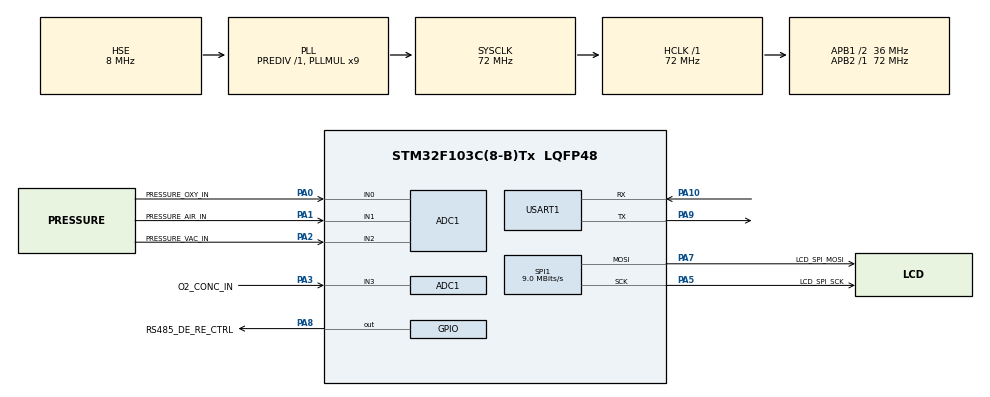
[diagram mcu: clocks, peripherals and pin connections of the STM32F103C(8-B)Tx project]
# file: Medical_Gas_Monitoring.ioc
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ADC1.Channel-0\#ChannelRegularConversion=ADC_CHANNEL_0
ADC1.Channel-1\#ChannelRegularConversion=ADC_CHANNEL_0
ADC1.Channel-2\#ChannelRegularConversion=ADC_CHANNEL_0
ADC1.Channel-3\#ChannelRegularConversion=ADC_CHANNEL_0
ADC1.ContinuousConvMode=ENABLE
ADC1.EnableAnalogWatchDog=false
ADC1.NbrOfConversion=4
ADC1.NbrOfConversionFlag=1
ADC1.Rank-0\#ChannelRegularConversion=1
ADC1.Rank-1\#ChannelRegularConversion=2
ADC1.Rank-2\#ChannelRegularConversion=3
ADC1.Rank-3\#ChannelRegularConversion=4
ADC1.SamplingTime-0\#ChannelRegularConversion=ADC_SAMPLETIME_1CYCLE_5
ADC1.SamplingTime-1\#ChannelRegularConversion=ADC_SAMPLETIME_1CYCLE_5
ADC1.SamplingTime-2\#ChannelRegularConversion=ADC_SAMPLETIME_1CYCLE_5
ADC1.SamplingTime-3\#ChannelRegularConversion=ADC_SAMPLETIME_1CYCLE_5
ADC1.master=1
Dma.ADC1.0.Direction=DMA_PERIPH_TO_MEMORY
Dma.ADC1.0.Instance=DMA1_Channel1
Dma.ADC1.0.MemDataAlignment=DMA_MDATAALIGN_HALFWORD
Dma.ADC1.0.MemInc=DMA_MINC_ENABLE
Dma.ADC1.0.Mode=DMA_CIRCULAR
Dma.ADC1.0.PeriphDataAlignment=DMA_PDATAALIGN_HALFWORD
Dma.ADC1.0.PeriphInc=DMA_PINC_DISABLE
Dma.ADC1.0.Priority=DMA_PRIORITY_LOW
Dma.Request0=ADC1
Mcu.Family=STM32F1
Mcu.Name=STM32F103C(8-B)Tx
Mcu.Package=LQFP48
NVIC.DMA1_Channel1_IRQn=true\:0\:0\:false\:false\:true\:false\:true\:true
NVIC.PriorityGroup=NVIC_PRIORITYGROUP_4
PA0-WKUP.GPIO_Label=PRESSURE_OXY_IN
PA0-WKUP.Signal=ADCx_IN0
PA1.GPIO_Label=PRESSURE_AIR_IN
PA1.Signal=ADCx_IN1
PA10.Mode=Asynchronous
PA10.Signal=USART1_RX
PA13.Mode=Serial_Wire
PA13.Signal=SYS_JTMS-SWDIO
PA14.Mode=Serial_Wire
PA14.Signal=SYS_JTCK-SWCLK
PA2.GPIO_Label=PRESSURE_VAC_IN
PA2.Signal=ADCx_IN2
PA3.GPIO_Label=O2_CONC_IN
PA3.Signal=ADCx_IN3
PA5.GPIO_Label=LCD_SPI_SCK
PA5.Mode=TX_Only_Simplex_Unidirect_Master
PA5.Signal=SPI1_SCK
PA7.GPIO_Label=LCD_SPI_MOSI
PA7.Mode=TX_Only_Simplex_Unidirect_Master
PA7.Signal=SPI1_MOSI
PA8.GPIO_Label=RS485_DE_RE_CTRL
PA8.Signal=GPIO_Output
PA9.Mode=Asynchronous
PA9.Signal=USART1_TX
PD0-OSC_IN.Mode=HSE-External-Oscillator
PD0-OSC_IN.Signal=RCC_OSC_IN
PD1-OSC_OUT.Mode=HSE-External-Oscillator
PD1-OSC_OUT.Signal=RCC_OSC_OUT
ProjectManager.HeapSize=0x200
ProjectManager.StackSize=0x400
ProjectManager.TargetToolchain=STM32CubeIDE
RCC.ADCPresc=RCC_ADCPCLK2_DIV6
RCC.AHBFreq_Value=72000000
RCC.APB1CLKDivider=RCC_HCLK_DIV2
RCC.APB1Freq_Value=36000000
RCC.APB1TimFreq_Value=72000000
RCC.APB2Freq_Value=72000000
RCC.APB2TimFreq_Value=72000000
RCC.HCLKFreq_Value=72000000
RCC.PLLMUL=RCC_PLL_MUL9
RCC.PLLSourceVirtual=RCC_PLLSOURCE_HSE
RCC.SYSCLKFreq_VALUE=72000000
RCC.SYSCLKSource=RCC_SYSCLKSOURCE_PLLCLK
RCC.USBFreq_Value=72000000
SH.ADCx_IN0.0=ADC1_IN0,IN0
SH.ADCx_IN1.0=ADC1_IN1,IN1
SH.ADCx_IN2.0=ADC1_IN2,IN2
SH.ADCx_IN3.0=ADC1_IN3,IN3
SPI1.BaudRatePrescaler=SPI_BAUDRATEPRESCALER_8
SPI1.CalculateBaudRate=9.0 MBits/s
SPI1.Direction=SPI_DIRECTION_2LINES
SPI1.Mode=SPI_MODE_MASTER
SPI1.VirtualType=VM_MASTER
USART1.VirtualMode=VM_ASYNC
board=custom

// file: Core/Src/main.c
/* USER CODE BEGIN Header */
/**
  ******************************************************************************
  * @file           : main.c
  * @brief          : Main program body
  ******************************************************************************
  * @attention
  *
  * Copyright (c) 2026 STMicroelectronics.
  * All rights reserved.
  *
  * This software is licensed under terms that can be found in the LICENSE file
  * in the root directory of this software component.
  * If no LICENSE file comes with this software, it is provided AS-IS.
  *
  ******************************************************************************
  */
/* USER CODE END Header */
#include "main.h"

/* USER CODE BEGIN Includes */

#include <stdio.h>
#include <string.h>

/* USER CODE END Includes */

ADC_HandleTypeDef hadc1;
DMA_HandleTypeDef hdma_adc1;

SPI_HandleTypeDef hspi1;

UART_HandleTypeDef huart1;

/* USER CODE BEGIN PV */
#define NUM_ADC_CHANNELS 4
#define FILTER_WINDOW_SIZE 5
volatile uint16_t adc_buffer[NUM_ADC_CHANNELS];
uint16_t oxy_window[FILTER_WINDOW_SIZE] = {0};
uint16_t air_window[FILTER_WINDOW_SIZE] = {0};
uint16_t vac_window[FILTER_WINDOW_SIZE] = {0};
uint16_t o2c_window[FILTER_WINDOW_SIZE] = {0};
/* USER CODE END PV */

void SystemClock_Config(void);
static void MX_GPIO_Init(void);
static void MX_DMA_Init(void);
static void MX_ADC1_Init(void);
static void MX_SPI1_Init(void);
static void MX_USART1_UART_Init(void);

/* USER CODE BEGIN 0 */

uint16_t Median_Filter(uint16_t new_sample, uint16_t *windown) {
    uint8_t i, j;
    uint16_t temp;
    for (i = FILTER_WINDOW_SIZE - 1; i > 0; i--) {
        windown[i] = windown[i-1];
    }
    windown[0] = new_sample;
    uint16_t sort_arr[FILTER_WINDOW_SIZE];
    for (i = 0; i < FILTER_WINDOW_SIZE; i++) {
        sort_arr[i] = windown[i];
    }
    for (i = 0; i < FILTER_WINDOW_SIZE - 1; i++) {
        for (j = i + 1; j < FILTER_WINDOW_SIZE; j++) {
            if (sort_arr[i] > sort_arr[j]) {
                temp = sort_arr[i];
                sort_arr[i] = sort_arr[j];
                sort_arr[j] = temp;
            }
        }
    }
    return sort_arr[FILTER_WINDOW_SIZE / 2];
}

/* USER CODE END 0 */

int main(void)
{

  /* MCU Configuration--------------------------------------------------------*/

  /* Reset of all peripherals, Initializes the Flash interface and the Systick. */
  HAL_Init();

  /* Configure the system clock */
  SystemClock_Config();

  /* Initialize all configured peripherals */
  MX_GPIO_Init();
  MX_DMA_Init();
  MX_ADC1_Init();
  MX_SPI1_Init();
  MX_USART1_UART_Init();
  /* USER CODE BEGIN 2 */

  HAL_ADC_Start_DMA(&hadc1, (uint32_t*)adc_buffer, NUM_ADC_CHANNELS);
  HAL_Delay(5);
  for(int i = 0; i < FILTER_WINDOW_SIZE; i++) {
        oxy_window[i] = adc_buffer[0];
        air_window[i] = adc_buffer[1];
        vac_window[i] = adc_buffer[2];
        o2c_window[i] = adc_buffer[3];
    }

  /* USER CODE END 2 */

  /* Infinite loop */
  /* USER CODE BEGIN WHILE */
  while (1)
  {
	  uint16_t filtered_oxy = Median_Filter(adc_buffer[0], oxy_window);
	  uint16_t filtered_air = Median_Filter(adc_buffer[1], air_window);
	  uint16_t filtered_vac = Median_Filter(adc_buffer[2], vac_window);
	  uint16_t filtered_o2c = Median_Filter(adc_buffer[3], o2c_window);

	  char tx_buffer[60];
	  int len = snprintf(tx_buffer, sizeof(tx_buffer),"$NODE1:%u,%u,%u,%u\r\n", filtered_oxy, filtered_air, filtered_vac, filtered_o2c);

	  HAL_GPIO_WritePin(RS485_DE_RE_CTRL_GPIO_Port, RS485_DE_RE_CTRL_Pin, GPIO_PIN_SET);
	  if (HAL_UART_Transmit(&huart1, (uint8_t*)tx_buffer, len, 100) == HAL_OK) {
		  while(__HAL_UART_GET_FLAG(&huart1, UART_FLAG_TC) == RESET);
	  }
	  HAL_GPIO_WritePin(RS485_DE_RE_CTRL_GPIO_Port, RS485_DE_RE_CTRL_Pin, GPIO_PIN_RESET);

	  HAL_Delay(1000);
    /* USER CODE END WHILE */

  }
}

void SystemClock_Config(void)
{
  RCC_OscInitTypeDef RCC_OscInitStruct = {0};
  RCC_ClkInitTypeDef RCC_ClkInitStruct = {0};
  RCC_PeriphCLKInitTypeDef PeriphClkInit = {0};

  /** Initializes the RCC Oscillators according to the specified parameters
  * in the RCC_OscInitTypeDef structure.
  */
  RCC_OscInitStruct.OscillatorType = RCC_OSCILLATORTYPE_HSE;
  RCC_OscInitStruct.HSEState = RCC_HSE_ON;
  RCC_OscInitStruct.HSEPredivValue = RCC_HSE_PREDIV_DIV1;
  RCC_OscInitStruct.HSIState = RCC_HSI_ON;
  RCC_OscInitStruct.PLL.PLLState = RCC_PLL_ON;
  RCC_OscInitStruct.PLL.PLLSource = RCC_PLLSOURCE_HSE;
  RCC_OscInitStruct.PLL.PLLMUL = RCC_PLL_MUL9;
  if (HAL_RCC_OscConfig(&RCC_OscInitStruct) != HAL_OK)
  {
    Error_Handler();
  }

  /** Initializes the CPU, AHB and APB buses clocks
  */
  RCC_ClkInitStruct.ClockType = RCC_CLOCKTYPE_HCLK|RCC_CLOCKTYPE_SYSCLK
                              |RCC_CLOCKTYPE_PCLK1|RCC_CLOCKTYPE_PCLK2;
  RCC_ClkInitStruct.SYSCLKSource = RCC_SYSCLKSOURCE_PLLCLK;
  RCC_ClkInitStruct.AHBCLKDivider = RCC_SYSCLK_DIV1;
  RCC_ClkInitStruct.APB1CLKDivider = RCC_HCLK_DIV2;
  RCC_ClkInitStruct.APB2CLKDivider = RCC_HCLK_DIV1;

  if (HAL_RCC_ClockConfig(&RCC_ClkInitStruct, FLASH_LATENCY_2) != HAL_OK)
  {
    Error_Handler();
  }
  PeriphClkInit.PeriphClockSelection = RCC_PERIPHCLK_ADC;
  PeriphClkInit.AdcClockSelection = RCC_ADCPCLK2_DIV6;
  if (HAL_RCCEx_PeriphCLKConfig(&PeriphClkInit) != HAL_OK)
  {
    Error_Handler();
  }
}

static void MX_ADC1_Init(void)
{

  ADC_ChannelConfTypeDef sConfig = {0};

  /** Common config
  */
  hadc1.Instance = ADC1;
  hadc1.Init.ScanConvMode = ADC_SCAN_ENABLE;
  hadc1.Init.ContinuousConvMode = ENABLE;
  hadc1.Init.DiscontinuousConvMode = DISABLE;
  hadc1.Init.ExternalTrigConv = ADC_SOFTWARE_START;
  hadc1.Init.DataAlign = ADC_DATAALIGN_RIGHT;
  hadc1.Init.NbrOfConversion = 4;
  if (HAL_ADC_Init(&hadc1) != HAL_OK)
  {
    Error_Handler();
  }

  /** Configure Regular Channel
  */
  sConfig.Channel = ADC_CHANNEL_0;
  sConfig.Rank = ADC_REGULAR_RANK_1;
  sConfig.SamplingTime = ADC_SAMPLETIME_55CYCLES_5;
if (HAL_ADC_ConfigChannel(&hadc1, &sConfig) != HAL_OK)
  {
    Error_Handler();
  }

  /** Configure Regular Channel
  */
  sConfig.Channel = ADC_CHANNEL_1;
  sConfig.Rank = ADC_REGULAR_RANK_2;
  if (HAL_ADC_ConfigChannel(&hadc1, &sConfig) != HAL_OK)
  {
    Error_Handler();
  }

  /** Configure Regular Channel
  */
  sConfig.Channel = ADC_CHANNEL_2;
  sConfig.Rank = ADC_REGULAR_RANK_3;
  if (HAL_ADC_ConfigChannel(&hadc1, &sConfig) != HAL_OK)
  {
    Error_Handler();
  }

  /** Configure Regular Channel
  */
  sConfig.Channel = ADC_CHANNEL_3;
  sConfig.Rank = ADC_REGULAR_RANK_4;
  if (HAL_ADC_ConfigChannel(&hadc1, &sConfig) != HAL_OK)
  {
    Error_Handler();
  }

}

static void MX_SPI1_Init(void)
{

  /* SPI1 parameter configuration*/
  hspi1.Instance = SPI1;
  hspi1.Init.Mode = SPI_MODE_MASTER;
  hspi1.Init.Direction = SPI_DIRECTION_2LINES;
  hspi1.Init.DataSize = SPI_DATASIZE_8BIT;
  hspi1.Init.CLKPolarity = SPI_POLARITY_LOW;
  hspi1.Init.CLKPhase = SPI_PHASE_1EDGE;
  hspi1.Init.NSS = SPI_NSS_SOFT;
  hspi1.Init.BaudRatePrescaler = SPI_BAUDRATEPRESCALER_8;
  hspi1.Init.FirstBit = SPI_FIRSTBIT_MSB;
  hspi1.Init.TIMode = SPI_TIMODE_DISABLE;
  hspi1.Init.CRCCalculation = SPI_CRCCALCULATION_DISABLE;
  hspi1.Init.CRCPolynomial = 10;
  if (HAL_SPI_Init(&hspi1) != HAL_OK)
  {
    Error_Handler();
  }

}

static void MX_USART1_UART_Init(void)
{

  huart1.Instance = USART1;
  huart1.Init.BaudRate = 115200;
  huart1.Init.WordLength = UART_WORDLENGTH_8B;
  huart1.Init.StopBits = UART_STOPBITS_1;
  huart1.Init.Parity = UART_PARITY_NONE;
  huart1.Init.Mode = UART_MODE_TX_RX;
  huart1.Init.HwFlowCtl = UART_HWCONTROL_NONE;
  huart1.Init.OverSampling = UART_OVERSAMPLING_16;
  if (HAL_UART_Init(&huart1) != HAL_OK)
  {
    Error_Handler();
  }

}

static void MX_DMA_Init(void)
{

  /* DMA controller clock enable */
  __HAL_RCC_DMA1_CLK_ENABLE();

  /* DMA interrupt init */
  /* DMA1_Channel1_IRQn interrupt configuration */
  HAL_NVIC_SetPriority(DMA1_Channel1_IRQn, 0, 0);
  HAL_NVIC_EnableIRQ(DMA1_Channel1_IRQn);

}

static void MX_GPIO_Init(void)
{
  GPIO_InitTypeDef GPIO_InitStruct = {0};

  /* GPIO Ports Clock Enable */
  __HAL_RCC_GPIOD_CLK_ENABLE();
  __HAL_RCC_GPIOA_CLK_ENABLE();

  /*Configure GPIO pin Output Level */
  HAL_GPIO_WritePin(RS485_DE_RE_CTRL_GPIO_Port, RS485_DE_RE_CTRL_Pin, GPIO_PIN_RESET);

  /*Configure GPIO pin : RS485_DE_RE_CTRL_Pin */
  GPIO_InitStruct.Pin = RS485_DE_RE_CTRL_Pin;
  GPIO_InitStruct.Mode = GPIO_MODE_OUTPUT_PP;
  GPIO_InitStruct.Pull = GPIO_NOPULL;
  GPIO_InitStruct.Speed = GPIO_SPEED_FREQ_LOW;
  HAL_GPIO_Init(RS485_DE_RE_CTRL_GPIO_Port, &GPIO_InitStruct);

}

void Error_Handler(void)
{
  __disable_irq();
  while (1)
  {
  }
}
